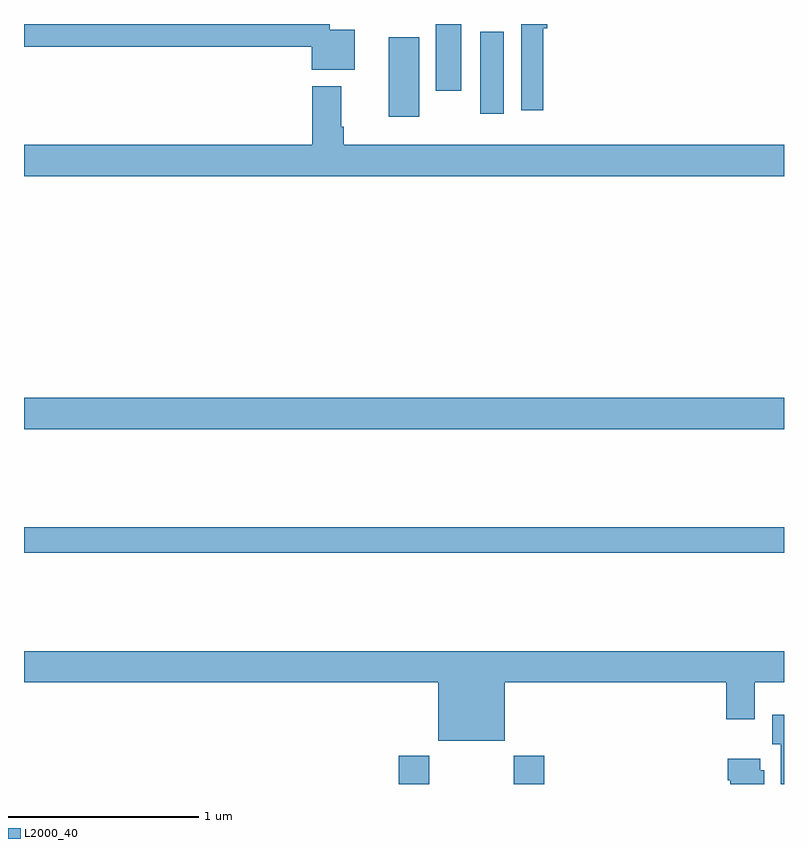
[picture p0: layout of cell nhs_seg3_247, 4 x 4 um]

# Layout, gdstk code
import gdstk
lib = gdstk.Library(unit=1e-6, precision=1e-09)
def R(c, l, rs):  # rectangles x0, y0, x1, y1
    for r in rs: c.add(gdstk.rectangle(r[:2], r[2:], *l))
def P(c, l, *ps):  # polygons
    for p in ps: c.add(gdstk.Polygon(p, *l))
L2000_40 = (2000, 40)

nhs_seg3_247 = lib.new_cell('nhs_seg3_247')
R(nhs_seg3_247, L2000_40, [(124.973,680.4,125.133,680.548), (125.578,680.4,125.738,680.548), (123,681.616,127,681.752), (123,682.268,127,682.432), (124.919,683.913,125.08,684.331), (125.402,683.928,125.524,684.358), (125.168,684.048,125.302,684.4)])
P(nhs_seg3_247, L2000_40, [(125.732,684.377),(125.754,684.377),(125.754,684.4),(125.616,684.4),(125.616,683.946),(125.732,683.946)],
  [(124.741,684.37),(124.608,684.37),(124.608,684.4),(123,684.4),(123,684.28),(124.514,684.28),(124.514,684.158),(124.741,684.158)],
  [(127,683.764),(124.682,683.764),(124.682,683.86),(124.669,683.86),(124.669,684.073),(124.517,684.073),(124.517,683.764),(123,683.764),(123,683.6),(127,683.6)],
  [(125.53,680.936),(126.695,680.936),(126.695,680.742),(126.847,680.742),(126.847,680.936),(127,680.936),(127,681.1),(123,681.1),(123,680.936),(125.18,680.936),(125.18,680.627),(125.53,680.627)],
  [(127,680.764),(126.938,680.764),(126.938,680.61),(126.983,680.61),(126.983,680.4),(127,680.4)],
  [(126.895,680.472),(126.874,680.472),(126.874,680.533),(126.704,680.533),(126.704,680.42),(126.716,680.42),(126.716,680.4),(126.895,680.4)])

lib.write_gds('nhs_seg3_247.gds')
